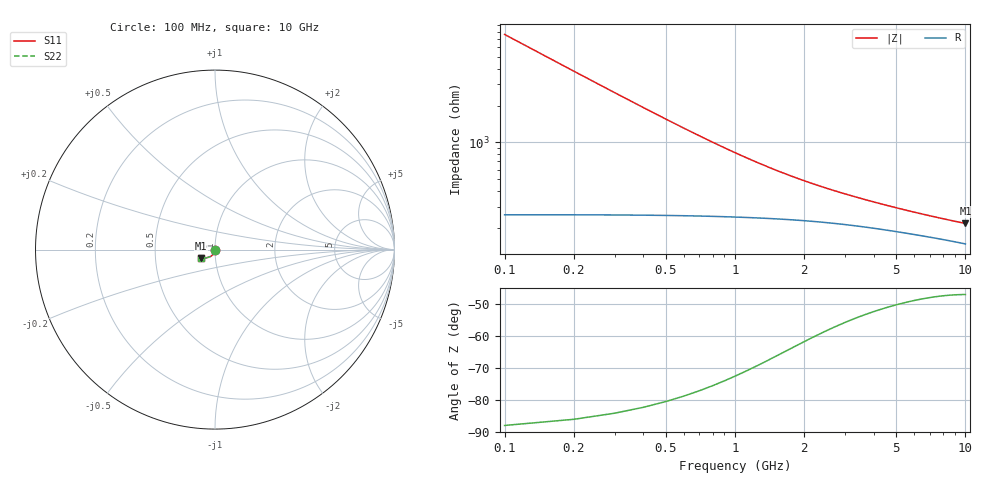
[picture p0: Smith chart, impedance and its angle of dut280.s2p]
! Touchstone file exported from HFSS 2024.1.0
!  File:  C:/UserFiles/LocalFiles/RDL_TSV_Batchsim/temp_TSV1_280_1778770290.aedt
!  Generated:  10:55:07 PM May 14, 2026
!  Design:  TSV1
!  Project:  temp_TSV1_280_1778770290
!  Setup:  Setup1
!  Solution:  Sweep
! Variables:
!  dtsv = 23.08um
!  hbump = 3um
!  htsv = 74.97um
!  lrdl = 252.1521522um
!  p = 40
!  p1 = 59.07um
!  t = 500um
!  trdl = 3um
!  wrdl = 24.89489489um
# GHz S MA R 50.000000
! Terminal data exported
! Port[1] = TSV22_T1
! Port[2] = TSV22_T2
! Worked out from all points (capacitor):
!   100 points, 100 MHz to 10 GHz, reference 50 ohm
!   read as one part in shunt: C = 210 fF near 100 MHz
!   lowest |Z| = 218 ohm at 10 GHz (marker M1)
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0.1  0.002987 -90.9  0.9998 -0.2  0.9998 -0.2  0.002987 -90.9
! Gamma 0 0 0 0
! Port Impedance 50 0 50 0
0.2  0.005957 -93.8  0.9994 -0.4  0.9994 -0.4  0.005957 -93.8
0.3  0.008893 -96.2  0.9989 -0.6  0.9989 -0.6  0.008893 -96.2
0.4  0.01178 -98.4  0.9981 -0.8  0.9981 -0.8  0.01178 -98.4
0.5  0.0146 -100.6  0.9971 -1.0  0.9971 -1.0  0.0146 -100.6
0.6  0.01735 -102.6  0.9959 -1.2  0.9959 -1.2  0.01735 -102.6
0.7  0.02001 -104.6  0.9947 -1.3  0.9947 -1.3  0.02001 -104.6
0.8  0.02258 -106.5  0.9933 -1.5  0.9933 -1.5  0.02258 -106.5
0.9  0.02504 -108.4  0.9919 -1.7  0.9919 -1.7  0.02504 -108.4
1.1  0.02965 -111.8  0.9888 -1.9  0.9888 -1.9  0.02965 -111.8
1.4  0.0358 -116.3  0.9841 -2.3  0.9841 -2.3  0.0358 -116.3
1.6  0.03941 -119.0  0.981 -2.5  0.981 -2.5  0.03941 -119.0
1.8  0.04268 -121.3  0.978 -2.7  0.978 -2.7  0.04268 -121.3
2.1  0.04702 -124.4  0.9738 -2.9  0.9738 -2.9  0.04702 -124.4
2.5  0.05198 -127.9  0.9686 -3.2  0.9686 -3.2  0.05198 -127.9
2.9  0.0562 -130.6  0.964 -3.4  0.964 -3.4  0.0562 -130.6
3.4  0.06072 -133.4  0.959 -3.6  0.959 -3.6  0.06072 -133.4
4.2  0.06673 -136.8  0.9522 -4.0  0.9522 -4.0  0.06673 -136.8
5.1  0.07226 -139.7  0.9459 -4.3  0.9459 -4.3  0.07226 -139.7
6.7  0.07989 -143.5  0.9372 -4.9  0.9372 -4.9  0.07989 -143.5
8.4  0.08593 -146.2  0.9303 -5.4  0.9303 -5.4  0.08593 -146.2
10  0.09036 -148.0  0.9253 -5.9  0.9253 -5.9  0.09036 -148.0
